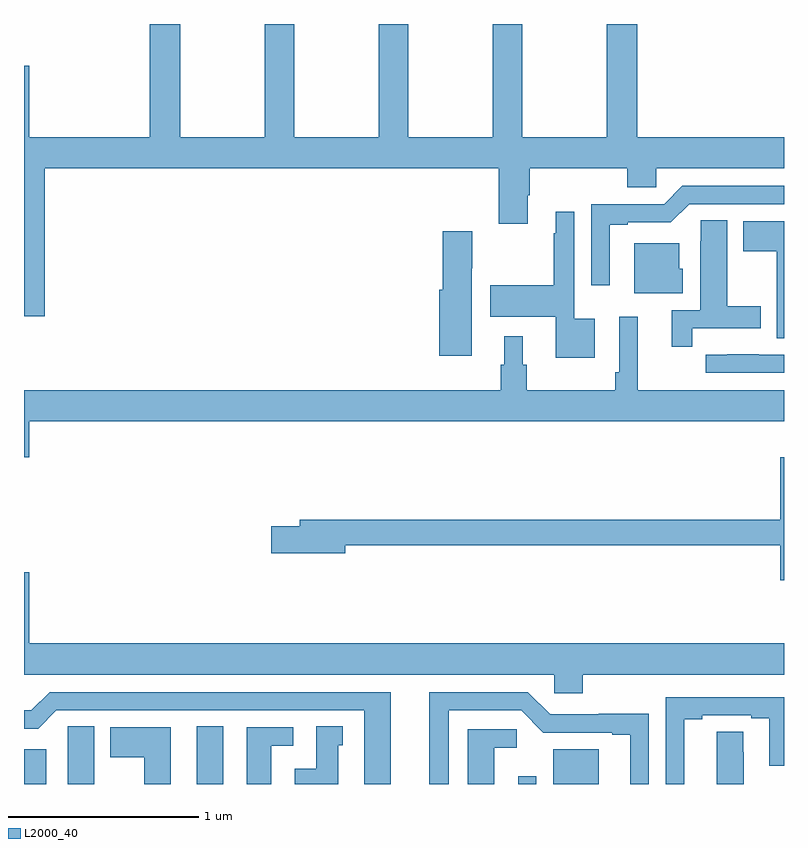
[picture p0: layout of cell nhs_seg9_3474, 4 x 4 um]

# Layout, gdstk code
import gdstk
lib = gdstk.Library(unit=1e-6, precision=1e-09)
def R(c, l, rs):  # rectangles x0, y0, x1, y1
    for r in rs: c.add(gdstk.rectangle(r[:2], r[2:], *l))
def P(c, l, *ps):  # polygons
    for p in ps: c.add(gdstk.Polygon(p, *l))
L2000_40 = (2000, 40)

nhs_seg9_3474 = lib.new_cell('nhs_seg9_3474')
R(nhs_seg9_3474, L2000_40, [(309,1206.5,309.118,1206.682), (309.908,1206.5,310.048,1206.803), (311.601,1206.5,311.697,1206.541), (311.786,1206.5,312.025,1206.682)])
P(nhs_seg9_3474, L2000_40, [(311.498,1209.45),(311.65,1209.45),(311.65,1209.598),(311.663,1209.598),(311.663,1209.74),(312.176,1209.74),(312.176,1209.642),(312.327,1209.642),(312.327,1209.74),(313,1209.74),(313,1209.904),(312.227,1209.904),(312.227,1210.5),(312.067,1210.5),(312.067,1209.904),(311.622,1209.904),(311.622,1210.5),(311.467,1210.5),(311.467,1209.904),(311.022,1209.904),(311.022,1210.5),(310.867,1210.5),(310.867,1209.904),(310.422,1209.904),(310.422,1210.5),(310.267,1210.5),(310.267,1209.904),(309.822,1209.904),(309.822,1210.5),(309.662,1210.5),(309.662,1209.904),(309.028,1209.904),(309.028,1210.279),(309,1210.279),(309,1208.961),(309.11,1208.961),(309.11,1209.74),(311.498,1209.74)],
  [(312.082,1209.444),(312.178,1209.444),(312.178,1209.456),(312.405,1209.456),(312.501,1209.552),(313,1209.552),(313,1209.648),(312.465,1209.648),(312.369,1209.552),(311.985,1209.552),(311.985,1209.126),(312.082,1209.126)],
  [(312.004,1208.95),(311.895,1208.95),(311.895,1209.511),(311.798,1209.511),(311.798,1209.398),(311.787,1209.398),(311.787,1209.126),(311.454,1209.126),(311.454,1208.96),(311.798,1208.96),(311.798,1208.744),(312.004,1208.744)],
  [(312.518,1208.898),(312.877,1208.898),(312.877,1209.015),(312.7,1209.015),(312.7,1209.467),(312.561,1209.467),(312.561,1209.356),(312.56,1209.356),(312.56,1208.994),(312.41,1208.994),(312.41,1208.802),(312.518,1208.802)],
  [(313,1209.463),(312.785,1209.463),(312.785,1209.304),(312.962,1209.304),(312.962,1208.845),(313,1208.845)],
  [(311.356,1209.214),(311.358,1209.214),(311.358,1209.409),(311.204,1209.409),(311.204,1209.102),(311.186,1209.102),(311.186,1208.754),(311.356,1208.754)],
  [(312.466,1209.213),(312.448,1209.213),(312.448,1209.346),(312.212,1209.346),(312.212,1209.083),(312.466,1209.083)],
  [(309.028,1208.408),(313,1208.408),(313,1208.572),(312.23,1208.572),(312.23,1208.959),(312.132,1208.959),(312.132,1208.668),(312.112,1208.668),(312.112,1208.572),(311.645,1208.572),(311.645,1208.706),(311.626,1208.706),(311.626,1208.857),(311.528,1208.857),(311.528,1208.706),(311.509,1208.706),(311.509,1208.572),(309,1208.572),(309,1208.22),(309.028,1208.22)],
  [(313,1208.76),(312.866,1208.76),(312.866,1208.761),(312.7,1208.761),(312.7,1208.76),(312.588,1208.76),(312.588,1208.664),(313,1208.664)],
  [(313,1208.221),(312.98,1208.221),(312.98,1207.892),(310.451,1207.892),(310.451,1207.856),(310.302,1207.856),(310.302,1207.714),(310.69,1207.714),(310.69,1207.756),(312.98,1207.756),(312.98,1207.572),(313,1207.572)],
  [(311.942,1207.076),(313,1207.076),(313,1207.24),(309.028,1207.24),(309.028,1207.615),(309,1207.615),(309,1207.076),(311.79,1207.076),(311.79,1206.978),(311.942,1206.978)],
  [(311.236,1206.888),(311.616,1206.888),(311.733,1206.771),(312.095,1206.771),(312.095,1206.759),(312.191,1206.759),(312.191,1206.5),(312.288,1206.5),(312.288,1206.869),(312.025,1206.869),(312.025,1206.867),(311.769,1206.867),(311.652,1206.984),(311.132,1206.984),(311.132,1206.5),(311.236,1206.5)],
  [(310.93,1206.984),(309.135,1206.984),(309.039,1206.888),(309,1206.888),(309,1206.792),(309.075,1206.792),(309.171,1206.888),(310.79,1206.888),(310.79,1206.5),(310.93,1206.5)],
  [(312.475,1206.841),(312.571,1206.841),(312.571,1206.861),(312.827,1206.861),(312.827,1206.846),(312.923,1206.846),(312.923,1206.595),(313,1206.595),(313,1206.957),(312.378,1206.957),(312.378,1206.5),(312.475,1206.5)],
  [(310.654,1206.705),(310.678,1206.705),(310.678,1206.803),(310.538,1206.803),(310.538,1206.58),(310.424,1206.58),(310.424,1206.5),(310.654,1206.5)],
  [(309.37,1206.803),(309.231,1206.803),(309.231,1206.692),(309.23,1206.692),(309.23,1206.5),(309.37,1206.5)],
  [(309.772,1206.799),(309.455,1206.799),(309.455,1206.64),(309.632,1206.64),(309.632,1206.5),(309.772,1206.5)],
  [(310.3,1206.702),(310.417,1206.702),(310.417,1206.798),(310.172,1206.798),(310.172,1206.5),(310.3,1206.5)],
  [(311.476,1206.692),(311.593,1206.692),(311.593,1206.789),(311.336,1206.789),(311.336,1206.5),(311.476,1206.5)],
  [(312.787,1206.668),(312.786,1206.668),(312.786,1206.776),(312.647,1206.776),(312.647,1206.5),(312.787,1206.5)])

lib.write_gds('nhs_seg9_3474.gds')
